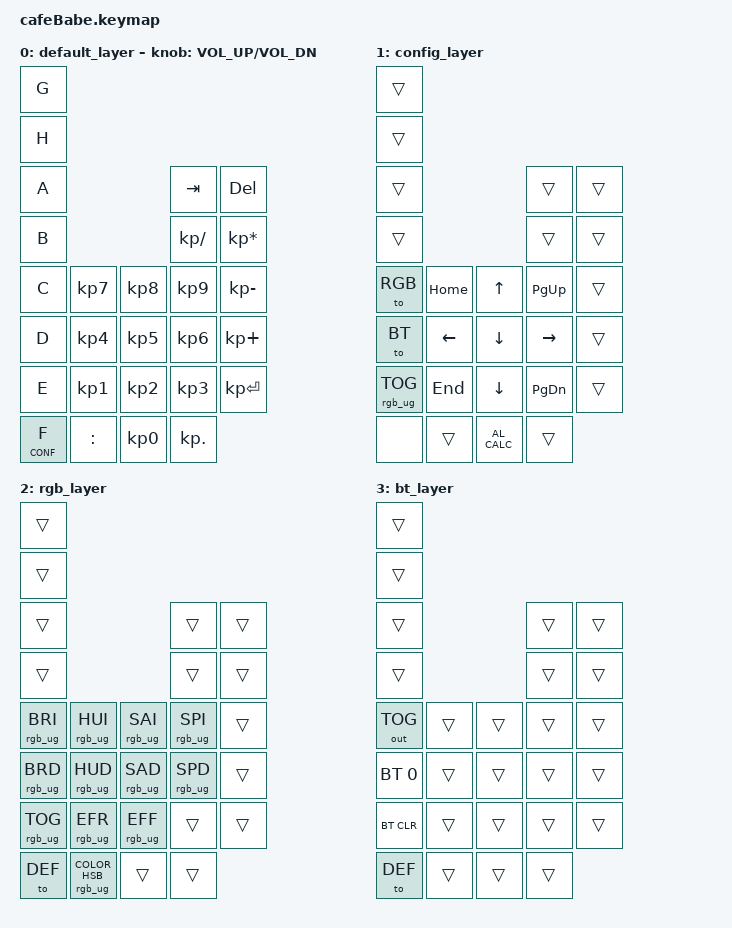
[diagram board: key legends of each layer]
/*
 * Copyright (c) 2020 The ZMK Contributors
 *
 * SPDX-License-Identifier: MIT
 */

#include <behaviors.dtsi>
#include <dt-bindings/zmk/keys.h>
#include <dt-bindings/zmk/bt.h>
#include <dt-bindings/zmk/rgb.h>
#include <dt-bindings/zmk/outputs.h>

#define DEF 0
#define CONF 1
#define RGB 2
#define BT 3

#define NONE 0

/ {
    keymap {
        compatible = "zmk,keymap";

        default_layer {
            bindings = <
                &kp G 
                &kp H
                &kp A                                 &kp TAB         &kp DEL
                &kp B                                 &kp KP_SLASH    &kp KP_ASTERISK 
                &kp C    &kp KP_N7      &kp KP_N8     &kp KP_N9       &kp KP_MINUS
                &kp D    &kp KP_N4      &kp KP_N5     &kp KP_N6       &kp KP_PLUS
                &kp E    &kp KP_N1      &kp KP_N2     &kp KP_N3       &kp KP_ENTER
                &lt CONF F  &kp COLON      &kp KP_N0     &kp KP_DOT
            >;

        sensor-bindings = <&inc_dec_kp C_VOL_UP C_VOL_DN>;
        };

        config_layer {
            bindings = <
                &trans 
                &trans
                &trans                                   &trans          &trans
                &trans                                   &trans          &trans 
                &to RGB              &kp HOME    &kp UP          &kp PG_UP       &trans
                &to BT               &kp LEFT    &kp DOWN        &kp RIGHT       &trans
                &rgb_ug RGB_TOG      &kp END     &kp DOWN        &kp PG_DN       &trans
                &none                &trans      &kp C_AL_CALC   &trans
            >;
        };

        rgb_layer {
            bindings = <
                &trans 
                &trans
                &trans                                                  &trans                 &trans
                &trans                                                  &trans                 &trans 
                &rgb_ug RGB_BRI   &rgb_ug RGB_HUI                       &rgb_ug RGB_SAI        &rgb_ug RGB_SPI         &trans
                &rgb_ug RGB_BRD   &rgb_ug RGB_HUD                       &rgb_ug RGB_SAD        &rgb_ug RGB_SPD         &trans
                &rgb_ug RGB_TOG   &rgb_ug RGB_EFR                       &rgb_ug RGB_EFF        &trans                  &trans
                &to DEF           &rgb_ug RGB_COLOR_HSB(128,100,100)    &trans                 &trans
            >;
        };

        bt_layer {
            bindings = <
                &trans 
                &trans
                &trans                                   &trans          &trans
                &trans                                   &trans          &trans 
                &out OUT_TOG           &trans    &trans        &trans          &trans
                &bt BT_SEL 0           &trans    &trans        &trans          &trans
                &bt BT_CLR           &trans    &trans        &trans          &trans
                &to DEF          &trans    &trans        &trans
            >;
        };
    };
};
